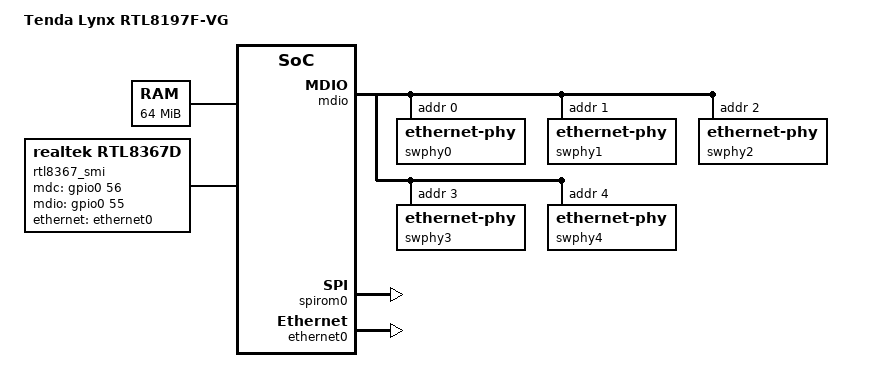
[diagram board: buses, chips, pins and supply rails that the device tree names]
// SPDX-License-Identifier: GPL-2.0-or-later OR MIT
/*
 * Tenda/Lynx RTL8197F-VG + RTL8367-family board reconstructed from an
 * 8 MiB BH25Q64 SPI dump.
 *
 * Dump facts:
 *   0x000000..0x020000  Realtek/Tenda boot code, gzip self-extractor string
 *                        reports RTL8197F-VG and rtl8367b switch helpers.
 *   0x020000..0x030000  Tenda factory/calibration key-value store
 *                        (TENDA.lan_mac, wlan0/wlan1 MACs, TSSI tables).
 *   0x030000            Realtek firmware header "cr6c"
 *                        start=0x80a00000 burn=0x00030000.
 *   0x7e0000..0x7f0000  Tenda runtime config copy A.
 *   0x7f0000..0x800000  Tenda runtime config copy B.
 *
 * The commercial model string is not present in clear text in the dump.  The
 * factory SSIDs use "Lynx_...", so the board is named tenda,lynx-rtl8197f
 * until the enclosure/label is confirmed.
 */

#include <dt-bindings/gpio/gpio.h>
#include <dt-bindings/input/input.h>

#include "rtl8197f.dtsi"

/ {
	compatible = "tenda,lynx-rtl8197f", "realtek,rtl8197f-vg", "realtek,rtl8197f-soc";
	model = "Tenda Lynx RTL8197F-VG";

	aliases {
		serial0 = &uart0;
	};

	chosen {
		bootargs = "console=ttyS0,115200n8 lpj=5000000 rootfstype=squashfs,jffs2 clk_ignore_unused";
		stdout-path = "serial0:115200n8";
	};

	/* Conservative: many 8 MiB RTL8197F Tenda boards ship with 64 MiB RAM.
	 * If a validated boot log proves 128 MiB, this can safely be increased.
	 */
	memory@0 {
		device_type = "memory";
		reg = <0x00000000 0x04000000>;
	};

	leds {
		compatible = "gpio-leds";
		status = "disabled";
	};

	keys {
		compatible = "gpio-keys";
		status = "disabled";
	};

	/* External RTL8367-family switch.  The bootloader contains rtl8367b_* helper
	 * strings, while the RTL8197F SDK and RD05 work both use the same 8367
	 * SMI/RGMII CPU-port path.  Keep the compatible list broad; the driver still
	 * validates the chip ID during probe.
	 */
	rtl8367_smi: switch {
		compatible = "realtek,rtl8367d", "realtek,rtl8367rb-vc", "realtek,rtl8365mb";
		pinctrl-names = "default";
		pinctrl-0 = <&rtl8367_smi_h0_g7_pins>;
		mdc-gpios = <&gpio0 56 GPIO_ACTIVE_HIGH>;  /* SDK H0 */
		mdio-gpios = <&gpio0 55 GPIO_ACTIVE_HIGH>; /* SDK G7 */
		realtek,disable-leds;
		status = "okay";

		ports {
			#address-cells = <1>;
			#size-cells = <0>;

			/* Tenda user configuration has lan_ifnames=vlan1 wlan0 wlan1 and
			 * multi-WAN software keys, but no clear physical port map.  For the
			 * common 5-port RTL8367 router layout publish ports 0..3 as LAN and
			 * port 4 as WAN.  This keeps all copper PHYs visible for validation.
			 */
			port@0 { reg = <0>; label = "lan1"; phy-handle = <&swphy0>; };
			port@1 { reg = <1>; label = "lan2"; phy-handle = <&swphy1>; };
			port@2 { reg = <2>; label = "lan3"; phy-handle = <&swphy2>; };
			port@3 { reg = <3>; label = "lan4"; phy-handle = <&swphy3>; };
			port@4 { reg = <4>; label = "wan";  phy-handle = <&swphy4>; };

			/* RTL8197F-VG vendor CPU interface uses the rtl865x extension path.
			 * Descriptor TD_DP bit 6 (0x40) plus TD_DP_EXT bit 1 (0x2) selects
			 * the RTL8367 EXT1/RGMII CPU path; match that with DSA CPU port 6.
			 */
			port@6 {
				reg = <6>;
				label = "cpu";
				ethernet = <&ethernet0>;
				phy-mode = "rgmii";
				tx-internal-delay-ps = <0>;
				rx-internal-delay-ps = <600>;

				fixed-link {
					speed = <1000>;
					full-duplex;
					pause;
				};
			};
		};

		mdio {
			compatible = "realtek,smi-mdio";
			#address-cells = <1>;
			#size-cells = <0>;

			swphy0: ethernet-phy@0 { reg = <0>; eee-broken-100tx; eee-broken-1000t; };
			swphy1: ethernet-phy@1 { reg = <1>; eee-broken-100tx; eee-broken-1000t; };
			swphy2: ethernet-phy@2 { reg = <2>; eee-broken-100tx; eee-broken-1000t; };
			swphy3: ethernet-phy@3 { reg = <3>; eee-broken-100tx; eee-broken-1000t; };
			swphy4: ethernet-phy@4 { reg = <4>; eee-broken-100tx; eee-broken-1000t; };
		};
	};
};

&pinmux {
	rtl8367_smi_h0_g7_pins: rtl8367-smi-h0-g7-pins {
		pinctrl-single,bits = <0x34 0x03300000 0x0ff00000>;
	};
};

&gpio0 {
	/delete-property/ interrupt-controller;
	/delete-property/ #interrupt-cells;
	/delete-property/ interrupt-parent;
	/delete-property/ interrupts;
	status = "okay";
};

&uart0 {
	/* Leave UART0 in polling mode initially.  On RD05 the IRQ experiment caused
	 * console lockups; validate the Tenda interrupt lane before enabling it.
	 */
	/delete-property/ interrupt-parent;
	/delete-property/ interrupts;
};

&spi0 {
	status = "disabled";
};

&spirom0 {
	status = "okay";
	reg = <0x10000000 0x00800000>;
	erase-size = <0x10000>;
	/* RTL8197F auto-map byte reads behaved shifted on RD05; keep the same safe
	 * fixed-read path for this RTL8197F-VG fullflash target.
	 */
	realtek,read-shift = <1>;

	partitions {
		compatible = "fixed-partitions";
		#address-cells = <1>;
		#size-cells = <1>;

		partition@0 {
			label = "boot";
			reg = <0x00000000 0x00020000>;
			read-only;
		};

		partition@20000 {
			label = "factory";
			reg = <0x00020000 0x00010000>;
			read-only;
		};

		kernel: partition@30000 {
			label = "kernel";
			reg = <0x00030000 0x002f0000>;
			read-only;
		};

		rootfs: partition@320000 {
			label = "rootfs";
			reg = <0x00320000 0x004c0000>;
			read-only;
		};

		partition@7e0000 {
			label = "tenda_config";
			reg = <0x007e0000 0x00010000>;
			read-only;
		};

		partition@7f0000 {
			label = "tenda_config_bak";
			reg = <0x007f0000 0x00010000>;
			read-only;
		};
	};
};

&ethdiag0 {
	status = "disabled";
};

&ethernet0 {
	realtek,tx-port-mask = <0x40>;
	realtek,tx-dp-ext = <0x2>;
	realtek,tx-extspa = <0x0>;
	realtek,rx-poll-fallback;
	realtek,rx-poll-ms = <50>;
	realtek,sdk-cpuicr1-init;
	realtek,sdk-swcore-init;
	realtek,sdk-trxrdy;
	status = "okay";
};
